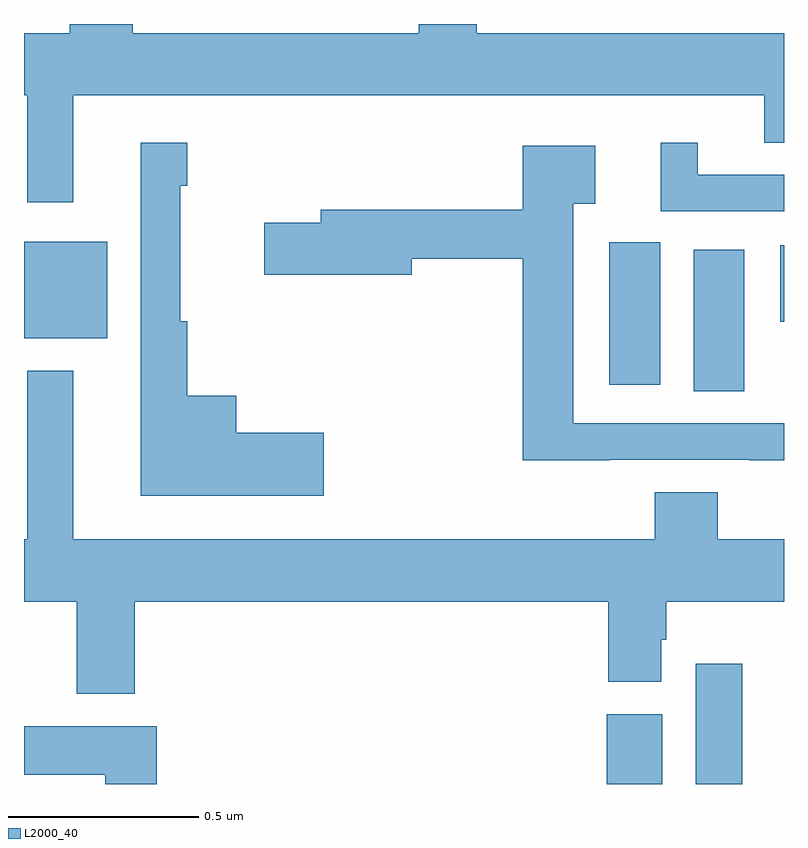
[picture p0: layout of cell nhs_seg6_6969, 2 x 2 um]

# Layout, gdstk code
import gdstk
lib = gdstk.Library(unit=1e-6, precision=1e-09)
def R(c, l, rs):  # rectangles x0, y0, x1, y1
    for r in rs: c.add(gdstk.rectangle(r[:2], r[2:], *l))
def P(c, l, *ps):  # polygons
    for p in ps: c.add(gdstk.Polygon(p, *l))
L2000_40 = (2000, 40)

nhs_seg6_6969 = lib.new_cell('nhs_seg6_6969')
R(nhs_seg6_6969, L2000_40, [(203.534,969.5,203.68,969.684), (203.768,969.5,203.89,969.817), (203.762,970.534,203.896,970.906), (203.54,970.551,203.674,970.926), (202,970.673,202.219,970.927), (203.99,970.716,204,970.918)])
P(nhs_seg6_6969, L2000_40, [(202.129,971.312),(203.948,971.312),(203.948,971.188),(204,971.188),(204,971.476),(203.191,971.476),(203.191,971.5),(203.039,971.5),(203.039,971.476),(202.286,971.476),(202.286,971.5),(202.121,971.5),(202.121,971.476),(202,971.476),(202,971.312),(202.008,971.312),(202.008,971.031),(202.129,971.031)],
  [(204,971.103),(203.773,971.103),(203.773,971.188),(203.675,971.188),(203.675,971.007),(204,971.007)],
  [(202.789,970.425),(202.558,970.425),(202.558,970.522),(202.429,970.522),(202.429,970.718),(202.411,970.718),(202.411,971.075),(202.429,971.075),(202.429,971.188),(202.307,971.188),(202.307,970.259),(202.789,970.259)],
  [(203.542,970.353),(203.908,970.353),(203.908,970.352),(204,970.352),(204,970.449),(203.446,970.449),(203.446,971.027),(203.503,971.027),(203.503,971.179),(203.312,971.179),(203.312,971.011),(202.781,971.011),(202.781,970.977),(202.632,970.977),(202.632,970.84),(203.02,970.84),(203.02,970.882),(203.312,970.882),(203.312,970.352),(203.542,970.352)],
  [(202.292,969.98),(203.537,969.98),(203.537,969.769),(203.677,969.769),(203.677,969.879),(203.69,969.879),(203.69,969.98),(204,969.98),(204,970.144),(203.825,970.144),(203.825,970.268),(203.66,970.268),(203.66,970.144),(202.129,970.144),(202.129,970.588),(202.008,970.588),(202.008,970.144),(202,970.144),(202,969.98),(202.139,969.98),(202.139,969.737),(202.292,969.737)],
  [(202.349,969.652),(202,969.652),(202,969.524),(202.214,969.524),(202.214,969.5),(202.349,969.5)])

lib.write_gds('nhs_seg6_6969.gds')
